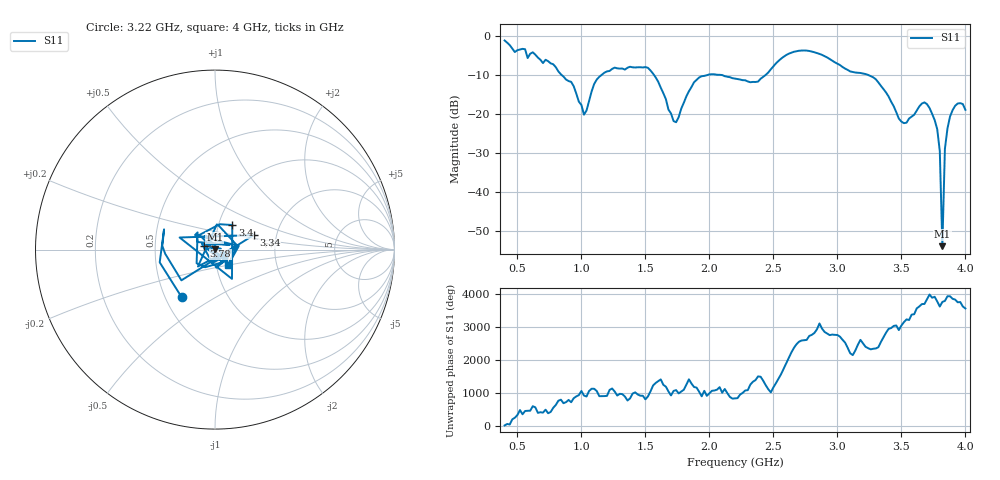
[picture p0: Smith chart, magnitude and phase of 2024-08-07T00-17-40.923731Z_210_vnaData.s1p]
!Created with skrf (http://scikit-rf.org).
# Hz S RI R 50.0
!freq ReS11 ImS11
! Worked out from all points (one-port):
!   181 points, 400 MHz to 4 GHz, reference 50 ohm
!   lowest |S11| = -53.8 dB at 3.82 GHz (marker M1), VSWR 1.00, Z = 49.8 + j0.114 ohm
!   |S11| at or under -10 dB: 1.567 GHz to 1.988 GHz (420.7 MHz wide, 23.7 % of centre); 2.089 GHz to 2.44 GHz (351.5 MHz wide, 15.5 % of centre); 3.24 GHz to end of sweep (the widest 3 of 4)
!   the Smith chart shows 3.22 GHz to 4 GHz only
!   S11 on the Smith chart (normalised r, x): 3.22 GHz: 0.61, -0.36; 3.34 GHz: 1.52, +0.26; 3.4 GHz: 1.16, +0.33; 3.78 GHz: 0.89, +0.04; 4 GHz: 1.14, -0.20
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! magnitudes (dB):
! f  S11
! 400 MHz  -1.2
! 860 MHz  -10.4
! 940 MHz  -12.9
! 1.02 GHz  -20.2
! 1.12 GHz  -11.2
! 1.3 GHz  -8.4
! 1.52 GHz  -8.2
! 1.6 GHz  -11.7
! 1.72 GHz  -21.8
! 1.76 GHz  -20.8
! 1.92 GHz  -10.7
! 2.2 GHz  -10.9
! 2.38 GHz  -11.7
! 2.66 GHz  -4.1
! 3.1 GHz  -9.1
! 3.22 GHz  -9.8
! 3.34 GHz  -12.8
! 3.4 GHz  -15.5
! 3.5 GHz  -21.9
! 3.56 GHz  -21.1
! 3.68 GHz  -17.0
! 3.78 GHz  -23.9
! 3.8 GHz  -29.5
! 3.82 GHz  -53.8
! 3.84 GHz  -28.9
! 3.86 GHz  -23.7
! 3.92 GHz  -17.9
! 4 GHz  -18.9
